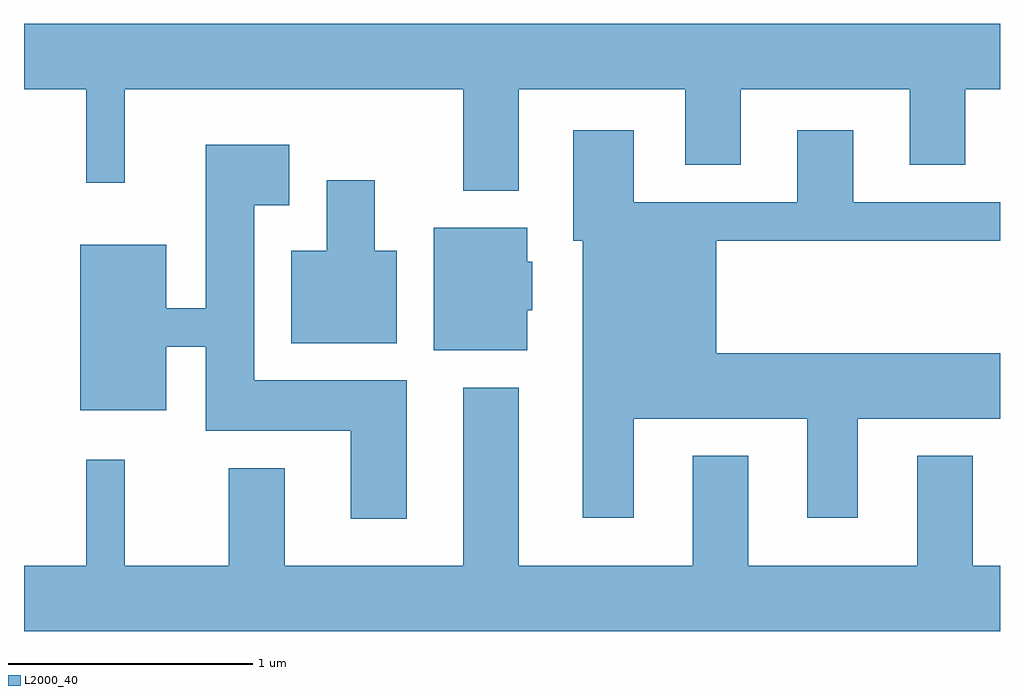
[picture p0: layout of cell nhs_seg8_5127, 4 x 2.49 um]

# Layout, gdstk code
import gdstk
lib = gdstk.Library(unit=1e-6, precision=1e-09)
def P(c, l, *ps):  # polygons
    for p in ps: c.add(gdstk.Polygon(p, *l))
L2000_40 = (2000, 40)

nhs_seg8_5127 = lib.new_cell('nhs_seg8_5127')
P(nhs_seg8_5127, L2000_40, [(341.639,1818.656),(342.321,1818.656),(342.321,1818.346),(342.549,1818.346),(342.549,1818.656),(343.241,1818.656),(343.241,1818.346),(343.469,1818.346),(343.469,1818.656),(343.611,1818.656),(343.611,1818.924),(339.611,1818.924),(339.611,1818.656),(339.866,1818.656),(339.866,1818.273),(340.024,1818.273),(340.024,1818.656),(341.411,1818.656),(341.411,1818.241),(341.639,1818.241)],
  [(342.109,1817.306),(342.821,1817.306),(342.821,1816.901),(343.029,1816.901),(343.029,1817.306),(343.611,1817.306),(343.611,1817.574),(342.449,1817.574),(342.449,1818.036),(343.611,1818.036),(343.611,1818.194),(343.009,1818.194),(343.009,1818.489),(342.781,1818.489),(342.781,1818.194),(342.109,1818.194),(342.109,1818.489),(341.861,1818.489),(341.861,1818.036),(341.901,1818.036),(341.901,1816.901),(342.109,1816.901)],
  [(341.179,1817.464),(340.554,1817.464),(340.554,1818.181),(340.699,1818.181),(340.699,1818.429),(340.356,1818.429),(340.356,1817.759),(340.194,1817.759),(340.194,1818.019),(339.841,1818.019),(339.841,1817.341),(340.194,1817.341),(340.194,1817.601),(340.356,1817.601),(340.356,1817.256),(340.951,1817.256),(340.951,1816.896),(341.179,1816.896)],
  [(341.139,1817.994),(341.049,1817.994),(341.049,1818.284),(340.851,1818.284),(340.851,1817.994),(340.706,1817.994),(340.706,1817.616),(341.139,1817.616)],
  [(341.674,1817.751),(341.694,1817.751),(341.694,1817.949),(341.674,1817.949),(341.674,1818.089),(341.291,1818.089),(341.291,1817.586),(341.674,1817.586)],
  [(343.611,1816.704),(343.499,1816.704),(343.499,1817.154),(343.271,1817.154),(343.271,1816.704),(342.579,1816.704),(342.579,1817.154),(342.351,1817.154),(342.351,1816.704),(341.639,1816.704),(341.639,1817.434),(341.411,1817.434),(341.411,1816.704),(340.679,1816.704),(340.679,1817.104),(340.451,1817.104),(340.451,1816.704),(340.024,1816.704),(340.024,1817.138),(339.866,1817.138),(339.866,1816.704),(339.611,1816.704),(339.611,1816.436),(343.611,1816.436)])

lib.write_gds('nhs_seg8_5127.gds')
